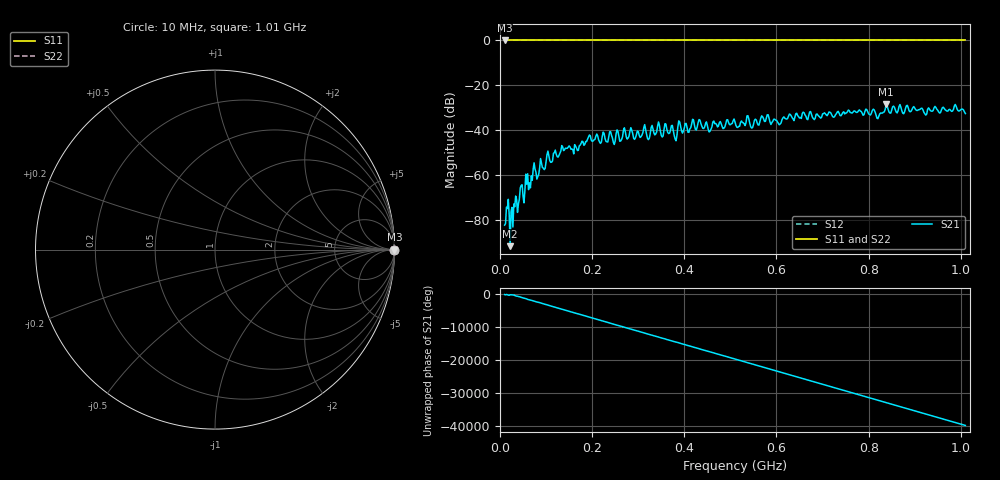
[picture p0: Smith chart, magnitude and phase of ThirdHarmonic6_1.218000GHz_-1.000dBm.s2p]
! 8/16/2025 12:45:32 PM
! C:\ANRITSUVNA\TEMP\TEMP.S2P
! CHANNEL.1
! TR.MEASUREMENT
! RAW.DATA
! RF.CORRECTION.OFF
! AVERAGING.OFF
! IF.BANDWIDTH: 5KHZ
! SWEEPTYPE:  FREQ.SWEEP(Linear)
! Reference Plane Port Info
! PORT:  PORT1  PORT2
! DISTANCE:  0  m  0  m
! TIME:  0  s  0  s
! PHASE.OFFSET:  0  deg.  0  deg.
! LOSS:  0  dB  0  dB
! REF.LOSS:  0  dB  0  dB
! REF.FREQ:  0  Hz  0  Hz
! Power Info
! POWER:  -20  dBm  -20  dBm
! EFF.POWER:  -20  dBm  -20  dBm
! SOURCE.ATTEN:  0  dB  0  dB
! TEST.ATTEN:  0  dB  0  dB
# GHZ S RI R 50.0
! FREQ.GHZ  S11RE  S11IM  S21RE  S21IM  S12RE  S12IM  S22RE  S22IM
!; PortSelection: Port_12
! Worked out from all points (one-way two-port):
!   501 points, 10 MHz to 1.01 GHz, reference 50 ohm
!   highest |S21| = -28.41 dB at 838 MHz (marker M1); lowest = -91.6 dB at 22 MHz (marker M2)
!   lowest |S11| = 0.0 dB at 10 MHz (marker M3)
!   |S11| at or under -10 dB: nowhere
!   |S22| runs from 0.0 to 0.0 dB; largest |S21 - S12| = 1
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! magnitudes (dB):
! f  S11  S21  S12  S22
! 10 MHz  0.0  -82.2  0.0  0.0
! 22 MHz  0.0  -91.6  0.0  0.0
! 24 MHz  0.0  -76.0  0.0  0.0
! 60 MHz  0.0  -59.3  0.0  0.0
! 66 MHz  0.0  -65.6  0.0  0.0
! 72 MHz  0.0  -57.3  0.0  0.0
! 82 MHz  0.0  -60.6  0.0  0.0
! 104 MHz  0.0  -49.3  0.0  0.0
! 178 MHz  0.0  -44.8  0.0  0.0
! 314 MHz  0.0  -37.5  0.0  0.0
! 322 MHz  0.0  -44.2  0.0  0.0
! 344 MHz  0.0  -36.3  0.0  0.0
! 380 MHz  0.0  -43.8  0.0  0.0
! 390 MHz  0.0  -36.3  0.0  0.0
! 434 MHz  0.0  -35.5  0.0  0.0
! 456 MHz  0.0  -40.3  0.0  0.0
! 510 MHz  0.0  -36.3  0.0  0.0
! 678 MHz  0.0  -34.2  0.0  0.0
! 820 MHz  0.0  -34.8  0.0  0.0
! 838 MHz  0.0  -28.4  0.0  0.0
! 844 MHz  0.0  -31.7  0.0  0.0
! 1.01 GHz  0.0  -32.5  0.0  0.0
